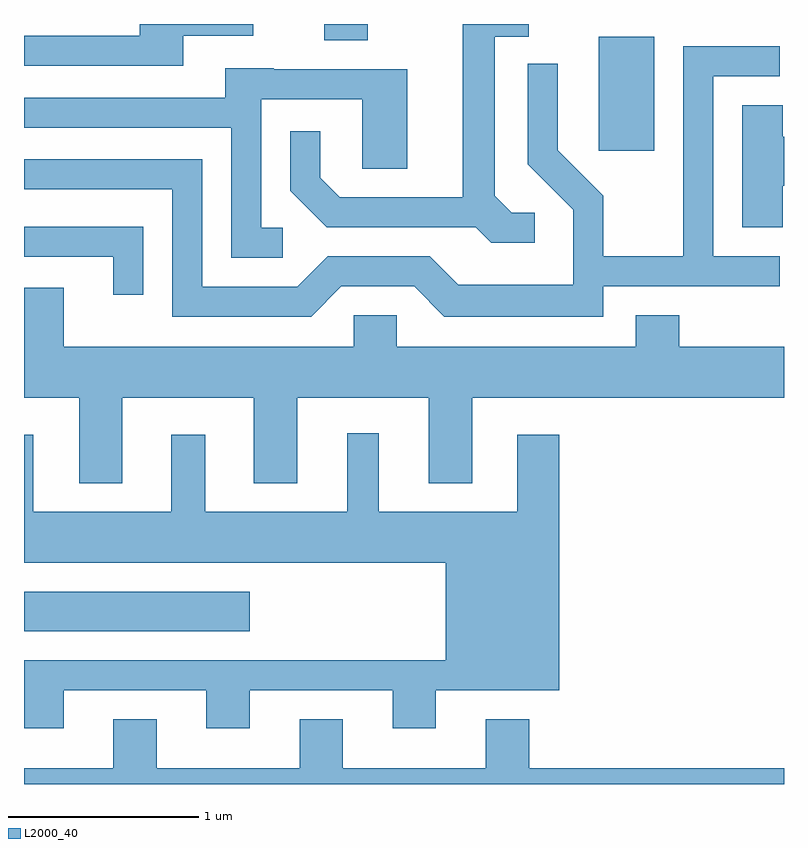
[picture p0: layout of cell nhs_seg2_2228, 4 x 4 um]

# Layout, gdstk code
import gdstk
lib = gdstk.Library(unit=1e-6, precision=1e-09)
def R(c, l, rs):  # rectangles x0, y0, x1, y1
    for r in rs: c.add(gdstk.rectangle(r[:2], r[2:], *l))
def P(c, l, *ps):  # polygons
    for p in ps: c.add(gdstk.Polygon(p, *l))
L2000_40 = (2000, 40)

nhs_seg2_2228 = lib.new_cell('nhs_seg2_2228')
R(nhs_seg2_2228, L2000_40, [(249.611,1082.606,250.799,1082.814), (252.636,1085.136,252.929,1085.734), (251.191,1085.716,251.419,1085.802)])
P(nhs_seg2_2228, L2000_40, [(252.298,1084.809),(252.177,1084.809),(252.089,1084.897),(252.089,1085.736),(252.268,1085.736),(252.268,1085.802),(251.921,1085.802),(251.921,1084.889),(251.272,1084.889),(251.169,1084.992),(251.169,1085.238),(251.011,1085.238),(251.011,1084.924),(251.204,1084.731),(251.989,1084.731),(252.069,1084.651),(252.298,1084.651)],
  [(250.449,1085.741),(250.818,1085.741),(250.818,1085.802),(250.221,1085.802),(250.221,1085.739),(249.611,1085.739),(249.611,1085.581),(250.449,1085.581)],
  [(251.282,1084.421),(251.664,1084.421),(251.824,1084.261),(252.659,1084.261),(252.659,1084.421),(253.588,1084.421),(253.588,1084.579),(253.239,1084.579),(253.239,1085.526),(253.588,1085.526),(253.588,1085.684),(253.081,1085.684),(253.081,1084.579),(252.659,1084.579),(252.659,1084.897),(252.419,1085.137),(252.419,1085.593),(252.261,1085.593),(252.261,1085.064),(252.501,1084.824),(252.501,1084.429),(251.897,1084.429),(251.747,1084.579),(251.209,1084.579),(251.049,1084.419),(250.549,1084.419),(250.549,1085.089),(249.611,1085.089),(249.611,1084.931),(250.391,1084.931),(250.391,1084.261),(251.122,1084.261)],
  [(250.973,1084.729),(250.859,1084.729),(250.859,1085.406),(251.391,1085.406),(251.391,1085.041),(251.629,1085.041),(251.629,1085.564),(250.925,1085.564),(250.925,1085.569),(250.671,1085.569),(250.671,1085.414),(249.611,1085.414),(249.611,1085.256),(250.701,1085.256),(250.701,1084.571),(250.973,1084.571)],
  [(253.604,1084.951),(253.611,1084.951),(253.611,1085.209),(253.604,1085.209),(253.604,1085.374),(253.391,1085.374),(253.391,1084.731),(253.604,1084.731)],
  [(250.239,1084.734),(249.611,1084.734),(249.611,1084.576),(250.081,1084.576),(250.081,1084.378),(250.239,1084.378)],
  [(250.129,1083.836),(250.821,1083.836),(250.821,1083.386),(251.049,1083.386),(251.049,1083.836),(251.741,1083.836),(251.741,1083.386),(251.969,1083.386),(251.969,1083.836),(253.611,1083.836),(253.611,1084.104),(253.059,1084.104),(253.059,1084.269),(252.831,1084.269),(252.831,1084.104),(251.574,1084.104),(251.574,1084.269),(251.346,1084.269),(251.346,1084.104),(249.819,1084.104),(249.819,1084.414),(249.611,1084.414),(249.611,1083.836),(249.901,1083.836),(249.901,1083.386),(250.129,1083.386)],
  [(249.819,1082.296),(250.571,1082.296),(250.571,1082.096),(250.799,1082.096),(250.799,1082.296),(251.551,1082.296),(251.551,1082.096),(251.779,1082.096),(251.779,1082.296),(252.429,1082.296),(252.429,1083.639),(252.206,1083.639),(252.206,1083.234),(251.479,1083.234),(251.479,1083.648),(251.311,1083.648),(251.311,1083.234),(250.564,1083.234),(250.564,1083.639),(250.386,1083.639),(250.386,1083.234),(249.659,1083.234),(249.659,1083.639),(249.611,1083.639),(249.611,1082.966),(251.831,1082.966),(251.831,1082.454),(249.611,1082.454),(249.611,1082.096),(249.819,1082.096)],
  [(253.611,1081.884),(252.269,1081.884),(252.269,1082.144),(252.041,1082.144),(252.041,1081.884),(251.289,1081.884),(251.289,1082.144),(251.061,1082.144),(251.061,1081.884),(250.309,1081.884),(250.309,1082.144),(250.081,1082.144),(250.081,1081.884),(249.611,1081.884),(249.611,1081.802),(253.611,1081.802)])

lib.write_gds('nhs_seg2_2228.gds')
